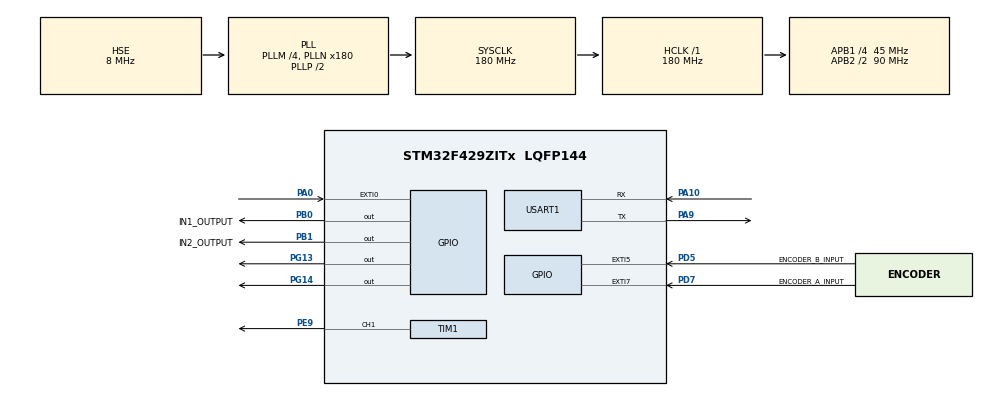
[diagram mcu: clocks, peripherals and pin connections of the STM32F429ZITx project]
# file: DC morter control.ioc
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Mcu.Family=STM32F4
Mcu.Name=STM32F429ZITx
Mcu.Package=LQFP144
NVIC.EXTI0_IRQn=true\:0\:0\:false\:true\:true\:3\:true\:true\:true
NVIC.EXTI9_5_IRQn=true\:0\:0\:false\:true\:true\:1\:true\:true\:true
NVIC.PriorityGroup=NVIC_PRIORITYGROUP_4
NVIC.TIM2_IRQn=true\:0\:0\:false\:true\:true\:2\:true\:true\:true
NVIC.TIM3_IRQn=true\:0\:0\:false\:true\:true\:4\:true\:true\:true
PA0/WKUP.GPIO_PuPd=GPIO_PULLDOWN
PA0/WKUP.Signal=GPXTI0
PA10.Mode=Asynchronous
PA10.Signal=USART1_RX
PA9.Mode=Asynchronous
PA9.Signal=USART1_TX
PB0.GPIO_Label=IN1_OUTPUT
PB0.GPIO_PuPd=GPIO_PULLDOWN
PB0.GPIO_Speed=GPIO_SPEED_FREQ_VERY_HIGH
PB0.Signal=GPIO_Output
PB1.GPIO_Label=IN2_OUTPUT
PB1.GPIO_PuPd=GPIO_PULLDOWN
PB1.GPIO_Speed=GPIO_SPEED_FREQ_VERY_HIGH
PB1.Signal=GPIO_Output
PD5.GPIO_Label=ENCODER_B_INPUT
PD5.GPIO_ModeDefaultEXTI=GPIO_MODE_IT_RISING_FALLING
PD5.Signal=GPXTI5
PD7.GPIO_Label=ENCODER_A_INPUT
PD7.GPIO_ModeDefaultEXTI=GPIO_MODE_IT_RISING_FALLING
PD7.Signal=GPXTI7
PE9.GPIO_PuPd=GPIO_PULLDOWN
PE9.GPIO_Speed=GPIO_SPEED_FREQ_VERY_HIGH
PE9.Signal=S_TIM1_CH1
PG13.Signal=GPIO_Output
PG14.Signal=GPIO_Output
PH0/OSC_IN.Mode=HSE-External-Oscillator
PH0/OSC_IN.Signal=RCC_OSC_IN
PH1/OSC_OUT.Mode=HSE-External-Oscillator
PH1/OSC_OUT.Signal=RCC_OSC_OUT
ProjectManager.HeapSize=0x200
ProjectManager.StackSize=0x400
ProjectManager.TargetToolchain=STM32CubeIDE
RCC.48MHZClocksFreq_Value=90000000
RCC.AHBFreq_Value=180000000
RCC.APB1CLKDivider=RCC_HCLK_DIV4
RCC.APB1Freq_Value=45000000
RCC.APB1TimFreq_Value=90000000
RCC.APB2CLKDivider=RCC_HCLK_DIV2
RCC.APB2Freq_Value=90000000
RCC.APB2TimFreq_Value=180000000
RCC.CortexFreq_Value=180000000
RCC.HCLKFreq_Value=180000000
RCC.HSE_VALUE=8000000
RCC.HSI_VALUE=16000000
RCC.LSE_VALUE=32768
RCC.PLLM=4
RCC.PLLN=180
RCC.PLLSourceVirtual=RCC_PLLSOURCE_HSE
RCC.SYSCLKFreq_VALUE=180000000
RCC.SYSCLKSource=RCC_SYSCLKSOURCE_PLLCLK
RCC.VCOOutputFreq_Value=360000000
SH.S_TIM1_CH1.0=TIM1_CH1,PWM Generation1 CH1
TIM1.Channel-PWM\ Generation1\ CH1=TIM_CHANNEL_1
TIM1.OCFastMode_PWM-PWM\ Generation1\ CH1=TIM_OCFAST_ENABLE
TIM1.OCIdleState_1=TIM_OCIDLESTATE_RESET
TIM1.OCMode_PWM-PWM\ Generation1\ CH1=TIM_OCMODE_PWM1
TIM1.OCPolarity_1=TIM_OCPOLARITY_HIGH
TIM1.Period=1000-1
TIM1.Prescaler=9-1
TIM1.Pulse-PWM\ Generation1\ CH1=0
TIM2.Period=10000-1
TIM2.Prescaler=900-1
TIM3.AutoReloadPreload=TIM_AUTORELOAD_PRELOAD_ENABLE
TIM3.Period=10000-1
TIM3.Prescaler=450-1
USART1.VirtualMode=VM_ASYNC
VP_TIM1_VS_ClockSourceINT.Mode=Internal
VP_TIM2_VS_ClockSourceINT.Mode=Internal
VP_TIM3_VS_ClockSourceINT.Mode=Internal
board=custom

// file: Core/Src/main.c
/* USER CODE BEGIN Header */
/**
  ******************************************************************************
  * @file           : main.c
  * @brief          : Main program body
  ******************************************************************************
  * @attention
  *
  * Copyright (c) 2025 STMicroelectronics.
  * All rights reserved.
  *
  * This software is licensed under terms that can be found in the LICENSE file
  * in the root directory of this software component.
  * If no LICENSE file comes with this software, it is provided AS-IS.
  *
  ******************************************************************************
  */
/* USER CODE END Header */
#include "main.h"
#include "tim.h"
#include "usart.h"
#include "gpio.h"

/* USER CODE BEGIN Includes */
#include <stdio.h>
#include <stdlib.h>
/* USER CODE END Includes */

/* USER CODE BEGIN PD */
#define P_GAIN_SPEED 5
#define I_GAIN_SPEED 0.1
#define D_GAIN_SPEED 0.2

#define P_GAIN_POS 1.9
#define I_GAIN_POS 0.02
#define D_GAIN_POS 0.1

#define dt 0.05
/* USER CODE END PD */

/* USER CODE BEGIN PV */
volatile uint32_t enc_pulse_edge_cnt;
volatile int32_t enc_pos_cnt;

volatile float current_state;
volatile uint32_t target_state;

volatile float realError;
volatile float accError;
volatile float errorGap;

volatile float pControl;
volatile float iControl;
volatile float dControl;

volatile float ccr_f;

uint8_t mode;
uint8_t speed_control_mode;
uint8_t pos_control_mode;

uint8_t button_flag;

char input_buf[10];
/* USER CODE END PV */

void SystemClock_Config(void);
static void MX_NVIC_Init(void);
/* USER CODE BEGIN PFP */
void Moter_Init(void);
void Moter_Start(void);
void Moter_Reverse_Start(void);
void Moter_Stop(void);

void calculateErrors(void);
void pidControl_speed(void);
void pidControl_pos(void);
uint32_t getUserInput(void);
/* USER CODE END PFP */

/* USER CODE BEGIN 0 */
int __io_putchar (int ch)
{
	if (ch == '\n') {
		HAL_UART_Transmit(&huart1, (uint8_t *)&"\r", 1, HAL_MAX_DELAY);
	}
	HAL_UART_Transmit(&huart1, (uint8_t *)&ch, 1, HAL_MAX_DELAY);
	return ch;
}
/* USER CODE END 0 */

int main(void)
{

  /* USER CODE BEGIN 1 */
  int16_t tmp;
  /* USER CODE END 1 */

  /* MCU Configuration--------------------------------------------------------*/

  /* Reset of all peripherals, Initializes the Flash interface and the Systick. */
  HAL_Init();

  /* Configure the system clock */
  SystemClock_Config();

  /* USER CODE BEGIN SysInit */
  HAL_TIM_PWM_DeInit(&htim1);
  /* USER CODE END SysInit */

  /* Initialize all configured peripherals */
  MX_GPIO_Init();
  MX_USART1_UART_Init();
  MX_TIM1_Init();
  MX_TIM2_Init();
  MX_TIM3_Init();

  /* Initialize interrupts */
  MX_NVIC_Init();
  /* USER CODE BEGIN 2 */
  // ========================================== System Initialization ===============================================
  printf("\nWaiting for system ready.....\n\n");
  Moter_Init();
  Moter_Stop();

  HAL_TIM_PWM_Start(&htim1, TIM_CHANNEL_1);		// 20KHZ PWM freq. resolution 1000. valid range (550 ~ 999)
  TIM1->CCR1 = 0;								// MIN speed 8rpm, MAX speed 90rpm (rpm = (encoder freq/8/120) * 60)

  HAL_Delay(2000);
  enc_pulse_edge_cnt = 0;
  enc_pos_cnt = 0;
  //ccr_f = 0.;
  // ================================================================================================================

  printf("\n================================================\n");
  printf("\nSelect Mode\n");
  printf("1: speed control mode\t2: position control mode\n");
  printf("\n================================================\n");

  while (HAL_UART_Receive(&huart1, &mode, 1, 10) != HAL_OK);

  if (mode == '1') {
	  HAL_TIM_Base_Start_IT(&htim2);		// RPM PID control freq timer start.

	  HAL_UART_Transmit(&huart1, "enter RPM : ", 12, 10);
	  target_state = getUserInput();
	  if (target_state > 120 || target_state < 0) {
		  printf("\nRPM range 0 ~ 120\n");
		  printf("Press reset again.\n");
	  } else {
		  Moter_Start();
		  speed_control_mode = 1;
	  }
  } else if (mode == '2'){
	  HAL_TIM_Base_Start_IT(&htim3);		// Angle PID control freq timer start.

	  HAL_UART_Transmit(&huart1, "enter ANGLE : ", 14, 10);
	  target_state = getUserInput();
	  if (target_state > 360 || target_state < 0) {
		  printf("\nPOS range 0 ~ 360\n");
		  printf("Press reset again.\n");
	  } else {
		  Moter_Start();
		  pos_control_mode = 1;
	  }
  } else {
	  printf("Invalid argument.\n");
	  printf("Press reset again.\n");
  }
  HAL_UART_Transmit(&huart1, "\r\n", 2, 10);
  /* USER CODE END 2 */

  /* Infinite loop */
  /* USER CODE BEGIN WHILE */
  while (1)
  {
	  if (button_flag) {
		  button_flag = 0;

		  if (speed_control_mode) {
			  HAL_UART_Transmit(&huart1, "enter RPM : ", 12, 10);
			  tmp = getUserInput();
			  if (tmp > 120 || tmp < 0) {
				  printf("\nWrong argument.\n");
			  } else {
				  target_state = tmp;
			  }
		  }
		  if (pos_control_mode) {
			  HAL_UART_Transmit(&huart1, "enter ANGLE : ", 14, 10);
			  tmp = getUserInput();
			  if (tmp > 360 || tmp < 0) {
				  printf("\nWrong argument.\n");
			  } else {
				  target_state = tmp;
			  }
		  }
		  HAL_UART_Transmit(&huart1, "\r\n", 2, 10);
	  }

	  if (speed_control_mode) {
		  printf("target: %d\tcurrent: %d\n", target_state, current_state);
		  HAL_Delay(1000);
	  }
    /* USER CODE END WHILE */

  }
}

void SystemClock_Config(void)
{
  RCC_OscInitTypeDef RCC_OscInitStruct = {0};
  RCC_ClkInitTypeDef RCC_ClkInitStruct = {0};

  /** Configure the main internal regulator output voltage
  */
  __HAL_RCC_PWR_CLK_ENABLE();
  __HAL_PWR_VOLTAGESCALING_CONFIG(PWR_REGULATOR_VOLTAGE_SCALE1);

  /** Initializes the RCC Oscillators according to the specified parameters
  * in the RCC_OscInitTypeDef structure.
  */
  RCC_OscInitStruct.OscillatorType = RCC_OSCILLATORTYPE_HSE;
  RCC_OscInitStruct.HSEState = RCC_HSE_ON;
  RCC_OscInitStruct.PLL.PLLState = RCC_PLL_ON;
  RCC_OscInitStruct.PLL.PLLSource = RCC_PLLSOURCE_HSE;
  RCC_OscInitStruct.PLL.PLLM = 4;
  RCC_OscInitStruct.PLL.PLLN = 180;
  RCC_OscInitStruct.PLL.PLLP = RCC_PLLP_DIV2;
  RCC_OscInitStruct.PLL.PLLQ = 4;
  if (HAL_RCC_OscConfig(&RCC_OscInitStruct) != HAL_OK)
  {
    Error_Handler();
  }

  /** Activate the Over-Drive mode
  */
  if (HAL_PWREx_EnableOverDrive() != HAL_OK)
  {
    Error_Handler();
  }

  /** Initializes the CPU, AHB and APB buses clocks
  */
  RCC_ClkInitStruct.ClockType = RCC_CLOCKTYPE_HCLK|RCC_CLOCKTYPE_SYSCLK
                              |RCC_CLOCKTYPE_PCLK1|RCC_CLOCKTYPE_PCLK2;
  RCC_ClkInitStruct.SYSCLKSource = RCC_SYSCLKSOURCE_PLLCLK;
  RCC_ClkInitStruct.AHBCLKDivider = RCC_SYSCLK_DIV1;
  RCC_ClkInitStruct.APB1CLKDivider = RCC_HCLK_DIV4;
  RCC_ClkInitStruct.APB2CLKDivider = RCC_HCLK_DIV2;

  if (HAL_RCC_ClockConfig(&RCC_ClkInitStruct, FLASH_LATENCY_5) != HAL_OK)
  {
    Error_Handler();
  }
}

/**
  * @brief NVIC Configuration.
  * @retval None
  */
static void MX_NVIC_Init(void)
{
  /* EXTI9_5_IRQn interrupt configuration */
  HAL_NVIC_SetPriority(EXTI9_5_IRQn, 0, 0);
  HAL_NVIC_EnableIRQ(EXTI9_5_IRQn);
  /* TIM2_IRQn interrupt configuration */
  HAL_NVIC_SetPriority(TIM2_IRQn, 0, 0);
  HAL_NVIC_EnableIRQ(TIM2_IRQn);
  /* EXTI0_IRQn interrupt configuration */
  HAL_NVIC_SetPriority(EXTI0_IRQn, 0, 0);
  HAL_NVIC_EnableIRQ(EXTI0_IRQn);
  /* TIM3_IRQn interrupt configuration */
  HAL_NVIC_SetPriority(TIM3_IRQn, 0, 0);
  HAL_NVIC_EnableIRQ(TIM3_IRQn);
}

/* USER CODE BEGIN 4 */
void HAL_GPIO_EXTI_Callback(uint16_t GPIO_Pin)
{
	if (GPIO_Pin == ENCODER_A_INPUT_Pin) {
		enc_pulse_edge_cnt++;

		if (HAL_GPIO_ReadPin(ENCODER_A_INPUT_GPIO_Port, ENCODER_A_INPUT_Pin)) {				// A channel rising edge.
			if (HAL_GPIO_ReadPin(ENCODER_B_INPUT_GPIO_Port, ENCODER_B_INPUT_Pin) == 1) {
				enc_pos_cnt++;
			} else {
				enc_pos_cnt--;
			}
		} else {											// A channel falling edge.
			if (HAL_GPIO_ReadPin(ENCODER_B_INPUT_GPIO_Port, ENCODER_B_INPUT_Pin) == 0) {
				enc_pos_cnt++;
			} else {
				enc_pos_cnt--;
			}
		}
	}

	if (GPIO_Pin == ENCODER_B_INPUT_Pin) {
		enc_pulse_edge_cnt++;

		if (HAL_GPIO_ReadPin(ENCODER_B_INPUT_GPIO_Port, ENCODER_B_INPUT_Pin)) {				// B channel rising edge.
			if (HAL_GPIO_ReadPin(ENCODER_A_INPUT_GPIO_Port, ENCODER_A_INPUT_Pin) == 0) {
				enc_pos_cnt++;
			} else {
				enc_pos_cnt--;
			}
		} else {											// B channel falling edge.
			if (HAL_GPIO_ReadPin(ENCODER_A_INPUT_GPIO_Port, ENCODER_A_INPUT_Pin) == 1) {
				enc_pos_cnt++;
			} else {
				enc_pos_cnt--;
			}
		}
	}

	if (GPIO_Pin == GPIO_PIN_0) {
		button_flag = 1;
	}
}

void HAL_TIM_PeriodElapsedCallback(TIM_HandleTypeDef *htim)
{
	if (htim->Instance == TIM2) {		// 100ms
		current_state = 10. * (float)enc_pulse_edge_cnt / 64.;		// (60 * enc_pulse_edge_cnt) / (0.1 * 960 * 4)

		calculateErrors();
		pidControl_speed();

		//printf("RPM : %d\n", current_RPM);
		enc_pulse_edge_cnt = 0;
	}

	if (htim->Instance == TIM3) {		// 50ms
		current_state = 360. * (float)enc_pos_cnt / 3840.;			// (360 * enc_pos_cnt) / (8 * 120 * 4)

		calculateErrors();
		pidControl_pos();
	}
}

void calculateErrors(void)
{
	errorGap = (float)target_state - current_state - realError;	// D control
	realError = (float)target_state - current_state;		// P control
	accError += realError * dt;					// I control
}

void pidControl_speed(void)
{
	float amount_of_control;

	pControl = P_GAIN_SPEED * realError;
	iControl = I_GAIN_SPEED * accError;
	dControl = D_GAIN_SPEED * (errorGap / dt);

	amount_of_control = pControl + iControl + dControl;
	if (amount_of_control < 0) amount_of_control = 0;
	if (amount_of_control > 999) amount_of_control = 999;

	TIM1->CCR1 = (uint16_t)amount_of_control;
}

void pidControl_pos(void)
{
	float amount_of_control;

	pControl = P_GAIN_POS * realError;
	iControl = I_GAIN_POS * accError;
	dControl = D_GAIN_POS * (errorGap / dt);

	amount_of_control = pControl + iControl + dControl;
	if (amount_of_control < 0) {
		Moter_Reverse_Start();
		amount_of_control *= -1;
	} else {
		Moter_Start();
	}

	if (amount_of_control > 999) {
		amount_of_control = 999;
	}

	//ccr_f = 0.4 * (float)amount_of_control + 600.;
	ccr_f = 0.45 * (float)amount_of_control + 550.;		// Duty cycle 550 ~ 999.
	TIM1->CCR1 = (int16_t)ccr_f;
}

void Moter_Init(void)
{
	HAL_GPIO_WritePin(IN1_OUTPUT_GPIO_Port, IN1_OUTPUT_Pin, 0);
	HAL_GPIO_WritePin(IN2_OUTPUT_GPIO_Port, IN2_OUTPUT_Pin, 0);
}

void Moter_Start(void)
{
	HAL_GPIO_WritePin(IN1_OUTPUT_GPIO_Port, IN1_OUTPUT_Pin, 1);
	HAL_GPIO_WritePin(IN2_OUTPUT_GPIO_Port, IN2_OUTPUT_Pin, 0);
}

void Moter_Reverse_Start(void)
{
	HAL_GPIO_WritePin(IN1_OUTPUT_GPIO_Port, IN1_OUTPUT_Pin, 0);
	HAL_GPIO_WritePin(IN2_OUTPUT_GPIO_Port, IN2_OUTPUT_Pin, 1);
}

void Moter_Stop(void)
{
	HAL_GPIO_WritePin(IN1_OUTPUT_GPIO_Port, IN1_OUTPUT_Pin, 1);
	HAL_GPIO_WritePin(IN2_OUTPUT_GPIO_Port, IN2_OUTPUT_Pin, 1);
}

uint32_t getUserInput(void)
{
	uint8_t i = 0;
	uint8_t ch;
	uint32_t ret;

	while(1) {		// blocking for user input.
		while (HAL_UART_Receive(&huart1, &ch, 1, 10) != HAL_OK);

		if (ch == 13) break;
		input_buf[i++] = ch;
		HAL_UART_Transmit(&huart1, &ch, 1, 10);
	}

	ret = atoi(input_buf);
	for (i = 0; i < 9; i++) {
		input_buf[i] = 0;
	}

	return ret;
}
/* USER CODE END 4 */

void Error_Handler(void)
{
  __disable_irq();
  while (1)
  {
  }
}
